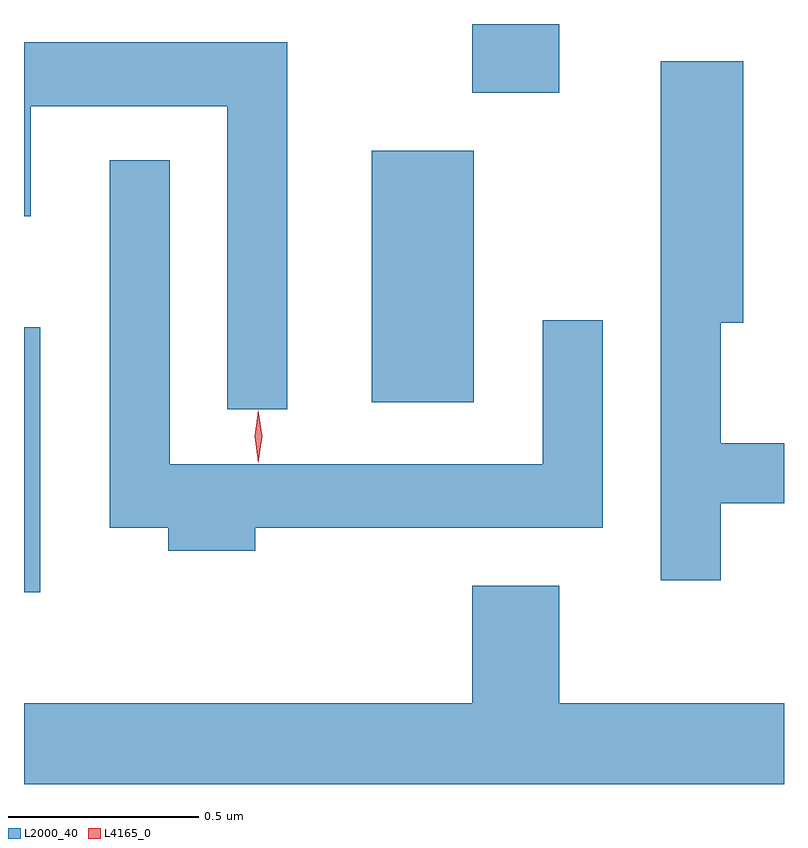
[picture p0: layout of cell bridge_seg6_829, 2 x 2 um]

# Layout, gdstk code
import gdstk
lib = gdstk.Library(unit=1e-6, precision=1e-09)
def R(c, l, rs):  # rectangles x0, y0, x1, y1
    for r in rs: c.add(gdstk.rectangle(r[:2], r[2:], *l))
def P(c, l, *ps):  # polygons
    for p in ps: c.add(gdstk.Polygon(p, *l))
L2000_40 = (2000, 40)
L4165_0 = (4165, 0)

bridge_seg6_829 = lib.new_cell('bridge_seg6_829')
R(bridge_seg6_829, L2000_40, [(525.511,1539.496,525.554,1540.194), (526.426,1539.996,526.694,1540.659), (526.691,1540.811,526.919,1540.992)])
P(bridge_seg6_829, L2000_40, [(526.204,1540.944),(525.511,1540.944),(525.511,1540.486),(525.529,1540.486),(525.529,1540.776),(526.046,1540.776),(526.046,1539.978),(526.204,1539.978)],
  [(527.344,1539.731),(527.511,1539.731),(527.511,1539.889),(527.344,1539.889),(527.344,1540.206),(527.404,1540.206),(527.404,1540.894),(527.186,1540.894),(527.186,1539.528),(527.344,1539.528)],
  [(526.119,1539.666),(527.034,1539.666),(527.034,1540.213),(526.876,1540.213),(526.876,1539.834),(525.894,1539.834),(525.894,1540.633),(525.736,1540.633),(525.736,1539.666),(525.891,1539.666),(525.891,1539.606),(526.119,1539.606)],
  [(527.511,1539.204),(526.919,1539.204),(526.919,1539.514),(526.691,1539.514),(526.691,1539.204),(525.511,1539.204),(525.511,1538.992),(527.511,1538.992)])
P(bridge_seg6_829, L4165_0, [(526.128,1539.839),(526.128,1539.84),(526.118,1539.906),(526.127,1539.972),(526.128,1539.973),(526.128,1539.972),(526.138,1539.906),(526.128,1539.84)],
  [(526.128,1539.837),(526.127,1539.838),(526.118,1539.907),(526.127,1539.976),(526.128,1539.976),(526.128,1539.976),(526.138,1539.907),(526.128,1539.838)])

lib.write_gds('bridge_seg6_829.gds')
